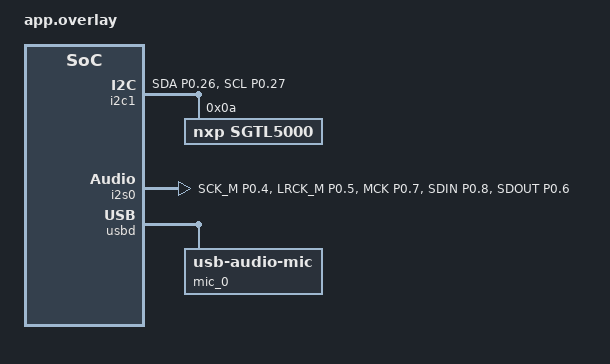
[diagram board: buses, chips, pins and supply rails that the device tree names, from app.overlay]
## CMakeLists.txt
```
cmake_minimum_required(VERSION 3.20.0)
find_package(Zephyr REQUIRED HINTS $ENV{ZEPHYR_BASE})
project(cdc_acm)

target_sources(app PRIVATE src/main.c)
```

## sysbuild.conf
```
# This forces Sysbuild to compile the Network Core from source
SB_CONFIG_NETCORE_HCI_IPC=y
```

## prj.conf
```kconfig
# --- Core Log & Debug ---
CONFIG_LOG=y
CONFIG_LOG_DEFAULT_LEVEL=3
CONFIG_PRINTK=y

# --- System Memory & Thread Buffers ---
CONFIG_HEAP_MEM_POOL_SIZE=32768
CONFIG_MAIN_STACK_SIZE=4096
CONFIG_SYSTEM_WORKQUEUE_STACK_SIZE=4096
CONFIG_BT_RX_STACK_SIZE=4096
CONFIG_NET_BUF=y

# --- Dual-Core IPC ---
CONFIG_MBOX=y
CONFIG_IPC_SERVICE=y
CONFIG_IPC_SERVICE_BACKEND_RPMSG_WQ_STACK_SIZE=4096

# --- Legacy USB Stack & Branding ---
CONFIG_USB_DEVICE_STACK=y
CONFIG_USB_DEVICE_AUDIO=y
CONFIG_USB_COMPOSITE_DEVICE=y
CONFIG_USB_DEVICE_VID=0x1111
CONFIG_USB_DEVICE_PID=0xAAAC
CONFIG_USB_DEVICE_MANUFACTURER="Zip Solutions"
CONFIG_USB_DEVICE_PRODUCT="Zip Captions Auracaster"

# --- Hardware Drivers ---
CONFIG_I2C=y
CONFIG_I2S=y
CONFIG_I2S_NRFX=y
CONFIG_GPIO=y

# --- Bluetooth Base Stack ---
CONFIG_BT=y
CONFIG_UTF8=y
CONFIG_BT_EXT_ADV=y
CONFIG_BT_PER_ADV=y
CONFIG_BT_ISO_BROADCASTER=y

# --- Auracast / BAP Audio Stack ---
CONFIG_BT_AUDIO=y
CONFIG_BT_BAP_BROADCAST_SOURCE=y
CONFIG_BT_AUDIO_CODEC_CFG_MAX_DATA_SIZE=155
CONFIG_BT_AUDIO_CODEC_CAP_MAX_DATA_SIZE=120
CONFIG_BT_DEVICE_NAME="Zip Captions"
CONFIG_BT_BAP_BROADCAST_SRC_STREAM_COUNT=2
CONFIG_BT_ISO_MAX_CHAN=2

# Fix the BAP buffer overflow (make room for the "Zip Captions" string)
CONFIG_BT_AUDIO_CODEC_CFG_MAX_METADATA_SIZE=255

# Public Broadcast Profile (Strict Auracast Requirement)
CONFIG_BT_PBP=y

# --- Expanded Bridge Buffers for Audio Commands ---
CONFIG_BT_BUF_CMD_TX_SIZE=255
CONFIG_BT_BUF_ACL_TX_SIZE=251
CONFIG_BT_BUF_ACL_RX_SIZE=251

# --- The Math Engine (LC3 Codec) ---
CONFIG_FPU=y
CONFIG_LIBLC3=y

# --- The Isochronous (ISO) Radio Buffers (Host side) ---
# Aligned with expert recommendations to prevent Android BIG sync failures
CONFIG_BT_ISO_TX_BUF_COUNT=3
CONFIG_BT_ISO_TX_MTU=251

# --- Bluetooth Stack Deep Logging ---
CONFIG_BT_LOG_LEVEL_INF=y
CONFIG_BT_HCI_CORE_LOG_LEVEL_INF=y
CONFIG_BT_ISO_LOG_LEVEL_DBG=y
CONFIG_BT_BAP_BROADCAST_SOURCE_LOG_LEVEL_DBG=y
CONFIG_BT_BAP_STREAM_LOG_LEVEL_DBG=y
CONFIG_BT_AUDIO_LOG_LEVEL_DBG=y
```

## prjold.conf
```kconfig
# --- Core System ---
CONFIG_LOG=y
CONFIG_PRINTK=y

# --- Memory Allocation (The Missing Pillars) ---
CONFIG_HEAP_MEM_POOL_SIZE=16384
CONFIG_MAIN_STACK_SIZE=4096
CONFIG_SYSTEM_WORKQUEUE_STACK_SIZE=4096
CONFIG_BT_HCI_TX_STACK_SIZE_WITH_PROMPT=y
CONFIG_BT_HCI_TX_STACK_SIZE=4096

# --- Base Bluetooth Support ---
CONFIG_BT=y
CONFIG_BT_HCI=y
CONFIG_BT_EXT_ADV=y
CONFIG_BT_PER_ADV=y
CONFIG_BT_ISO_BROADCASTER=y
CONFIG_BT_AUDIO=y
CONFIG_BT_BAP_BROADCAST_SOURCE=y
CONFIG_BT_DEVICE_NAME="Zip Captions Auracaster"

# --- Bluetooth Buffers ---
CONFIG_BT_BUF_ISO_TX_COUNT=6
CONFIG_BT_BUF_ISO_TX_SIZE=251
CONFIG_BT_BUF_ACL_TX_COUNT=10
CONFIG_BT_BUF_ACL_TX_SIZE=251

# --- USB Device (Classic) ---
CONFIG_USB_DEVICE_STACK=y
CONFIG_USB_DEVICE_STACK_NEXT=n
CONFIG_USB_DEVICE_AUDIO=y
CONFIG_USB_COMPOSITE_DEVICE=y
CONFIG_NET_BUF=y

# --- USB Branding ---
CONFIG_USB_DEVICE_PRODUCT="Zip Captions Auracaster"
CONFIG_USB_DEVICE_MANUFACTURER="Zip Solutions"
CONFIG_USB_DEVICE_VID=0x1111
CONFIG_USB_DEVICE_PID=0xAAAB

# --- I2S Driver ---
CONFIG_I2S=y
CONFIG_I2S_NRFX=y
```

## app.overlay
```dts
/* app.overlay */

&clock {
    status = "okay";
    hfclkaudio-frequency = <12288000>;
};

&pinctrl {
    i2c1_default: i2c1_default {
        group1 {
            /* I2C Pins -> Avoids UART collision */
            psels = <NRF_PSEL(TWIM_SDA, 0, 26)>,  /* nRF P0.26 -> Teensy Pin 18 */
                    <NRF_PSEL(TWIM_SCL, 0, 27)>;  /* nRF P0.27 -> Teensy Pin 19 */
            bias-pull-up;
        };
    };

    i2c1_sleep: i2c1_sleep {
        group1 {
            psels = <NRF_PSEL(TWIM_SDA, 0, 26)>,
                    <NRF_PSEL(TWIM_SCL, 0, 27)>;
            low-power-enable;
        };
    };

    i2s0_default: i2s0_default {
        group1 {
            /* Clock Pins -> Avoids UART collision */
            psels = <NRF_PSEL(I2S_SCK_M, 0, 4)>,   /* nRF P0.04 -> Teensy Pin 21 */
                    <NRF_PSEL(I2S_LRCK_M, 0, 5)>,  /* nRF P0.05 -> Teensy Pin 20 */
                    <NRF_PSEL(I2S_MCK, 0, 7)>;     /* nRF P0.07 -> Teensy Pin 23 */
            nordic,drive-mode = <NRF_DRIVE_H0H1>;
        };
        group2 {
            /* FIXED: Swapped to properly route TX to RX */
            psels = <NRF_PSEL(I2S_SDIN, 0, 8)>,    /* nRF P0.08 now listens to SGTL5000 TX (Teensy Pin 7) */
                    <NRF_PSEL(I2S_SDOUT, 0, 6)>;   /* nRF P0.06 now drives SGTL5000 RX (Teensy Pin 8) */
        };
    };

    i2s0_sleep: i2s0_sleep {
        group1 {
            psels = <NRF_PSEL(I2S_SCK_M, 0, 4)>,
                    <NRF_PSEL(I2S_LRCK_M, 0, 5)>,
                    <NRF_PSEL(I2S_MCK, 0, 7)>,
                    <NRF_PSEL(I2S_SDIN, 0, 8)>,
                    <NRF_PSEL(I2S_SDOUT, 0, 6)>;
            low-power-enable;
        };
    };
};

&i2c1 {
    status = "okay";
    pinctrl-0 = <&i2c1_default>;
    pinctrl-1 = <&i2c1_sleep>;
    pinctrl-names = "default", "sleep";

    sgtl5000: sgtl5000@a {
        compatible = "nxp,sgtl5000";
        reg = <0x0a>;
        #sound-dai-cells = <0>;
        status = "okay";
    };
};

&i2s0 {
    status = "okay";
    pinctrl-0 = <&i2s0_default>;
    pinctrl-1 = <&i2s0_sleep>;
    pinctrl-names = "default", "sleep";
    clock-source = "ACLK";
};

/* --- USB Microphone (48kHz Stereo) --- */
&usbd {
    status = "okay";
    mic_0: mic_0 {
        compatible = "usb-audio-mic";
        status = "okay";
        feature-mute;
        channel-l;
        channel-r;
        sample-rate-hz = <48000>;
    };
};
```

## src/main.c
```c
#include <zephyr/kernel.h>
#include <zephyr/device.h>
#include <zephyr/logging/log.h>
#include <zephyr/net_buf.h> 
#include <zephyr/sys/ring_buffer.h>
#include <string.h>
#include <zephyr/random/random.h>

/* USB Headers */
#include <zephyr/usb/usb_device.h>
#include <zephyr/drivers/uart.h>
#include <zephyr/usb/class/usb_audio.h>

/* Bluetooth & BAP Headers */
#include <zephyr/bluetooth/bluetooth.h>
#include <zephyr/bluetooth/iso.h>
#include <zephyr/bluetooth/audio/audio.h>
#include <zephyr/bluetooth/audio/bap.h>
#include <zephyr/bluetooth/audio/lc3.h>
#include <lc3.h> 

/* Hardware Bus Headers */
#include <zephyr/drivers/i2s.h>
#include <zephyr/drivers/i2c.h>
#include <zephyr/drivers/gpio.h>

LOG_MODULE_REGISTER(zip_audio_router, LOG_LEVEL_INF);

#define HW_SAMPLE_FREQ       48000  
#define SAMPLES_PER_FRAME    480    
#define STEREO_BLOCK_SIZE    1920   
#define NUM_BLOCKS           10      

#define USB_FRAME_SIZE       192    
#define USB_TX_BLOCK_SIZE    256     
#define USB_TX_NUM_BLOCKS    128

#define RING_BUF_SIZE        15360   
RING_BUF_DECLARE(audio_ringbuf, RING_BUF_SIZE);

/* --- Auracast Globals --- */
/* EXPERT FIX: 2 Streams for the "Stereo Spoof" */
static struct bt_bap_stream streams[2];
static struct bt_bap_broadcast_source *broadcast_source;
static struct bt_le_ext_adv *adv;
static uint16_t seq_num = 0;

const struct device *uart_dev = DEVICE_DT_GET(DT_CHOSEN(zephyr_console));
static uint32_t active_bcast_id = 0;

static lc3_encoder_t lc3_encoder;
#define LC3_ENCODER_MAX_MEM 8192
static uint8_t lc3_encoder_mem[LC3_ENCODER_MAX_MEM];

/* Buffer size doubled to 32 to handle 2 streams simultaneously */
NET_BUF_POOL_FIXED_DEFINE(bis_tx_pool, 32, BT_ISO_SDU_BUF_SIZE(100), 8, NULL);
K_MEM_SLAB_DEFINE(i2s_rx_slab, STEREO_BLOCK_SIZE, NUM_BLOCKS, 4);
NET_BUF_POOL_DEFINE(usb_tx_pool, USB_TX_NUM_BLOCKS, USB_TX_BLOCK_SIZE, 0, NULL);
K_SEM_DEFINE(hardware_ready_sem, 0, 1);

/* EXPERT FIX: Codec returned to FRONT_LEFT | FRONT_RIGHT to satisfy Pixel PACS matching */
static struct bt_audio_codec_cfg lc3_codec_cfg = BT_AUDIO_CODEC_LC3_CONFIG(
    BT_AUDIO_CODEC_CFG_FREQ_48KHZ,
    BT_AUDIO_CODEC_CFG_DURATION_10,
    (BT_AUDIO_LOCATION_FRONT_LEFT | BT_AUDIO_LOCATION_FRONT_RIGHT), 
    100, 1, BT_AUDIO_CONTEXT_TYPE_MEDIA
);

static struct bt_bap_qos_cfg lc3_qos_cfg = {
    .phy = BT_BAP_QOS_CFG_2M,
    .framing = BT_BAP_QOS_CFG_FRAMING_UNFRAMED,
    .rtn = 2,
    .sdu = 100,
    .latency = 65,       
    .interval = 10000,   
    .pd = 40000,         
};

const struct device *const i2s_dev = DEVICE_DT_GET(DT_NODELABEL(i2s0));
const struct device *const i2c_bus = DEVICE_DT_GET(DT_NODELABEL(i2c1));
const struct device *mic_dev; 

#define SW0_NODE DT_ALIAS(sw0)   
#define LED0_NODE DT_ALIAS(led0) 
#define LED1_NODE DT_ALIAS(led1) 

static const struct gpio_dt_spec button = GPIO_DT_SPEC_GET(SW0_NODE, gpios);
static const struct gpio_dt_spec led_line = GPIO_DT_SPEC_GET(LED0_NODE, gpios); 
static const struct gpio_dt_spec led_mic = GPIO_DT_SPEC_GET(LED1_NODE, gpios);  

static struct gpio_callback button_cb_data;
static bool is_line_active = true; 
static volatile bool request_input_switch = false;
static uint32_t last_press_time = 0;

void cdc_id_pulse_handler(struct k_timer *timer_id) {
    if (active_bcast_id != 0 && device_is_ready(uart_dev)) {
        char buf[32];
        snprintf(buf, sizeof(buf), "ID:%06X\n", active_bcast_id);
        for (int i = 0; buf[i] != '\0'; i++) {
            uart_poll_out(uart_dev, buf[i]);
        }
    }
}
K_TIMER_DEFINE(usb_pulse_timer, cdc_id_pulse_handler, NULL);

void button_pressed(const struct device *dev, struct gpio_callback *cb, uint32_t pins) {
    uint32_t now = k_uptime_get_32();
    if (now - last_press_time > 250) { 
        request_input_switch = true;
        last_press_time = now;
    }
}

/* --- SGTL5000 I2C Configuration --- */
#define SGTL5000_ADDR 0x0A

static int sgtl5000_write(uint16_t reg, uint16_t val) {
    uint8_t buf[4] = { (uint8_t)(reg >> 8), (uint8_t)(reg & 0xFF), (uint8_t)(val >> 8), (uint8_t)(val & 0xFF) };
    return i2c_write(i2c_bus, buf, 4, SGTL5000_ADDR);
}

static void wake_sgtl5000(void) {
    if (!device_is_ready(i2c_bus)) return;
    k_sleep(K_MSEC(50));
    sgtl5000_write(0x0002, 0x0000);
    sgtl5000_write(0x0030, 0x4060); 
    sgtl5000_write(0x0026, 0x006C); 
    sgtl5000_write(0x0028, 0x01F2); 
    sgtl5000_write(0x002C, 0x0F22); 
    sgtl5000_write(0x003C, 0x4446); 
    sgtl5000_write(0x0030, 0x40FF); 
    sgtl5000_write(0x0002, 0x0073); 
    k_sleep(K_MSEC(400));
    sgtl5000_write(0x0004, 0x0008);
    
    /* SGTL5000 in SLAVE mode (0x0130) because nRF5340 is the Master */
    sgtl5000_write(0x0006, 0x0130);
    
    sgtl5000_write(0x000A, 0x0000);
    sgtl5000_write(0x000E, 0x00B0); 
    sgtl5000_write(0x0024, 0x0004);
    sgtl5000_write(0x0020, 0x0000); 
    sgtl5000_write(0x002A, 0x0000); 
    sgtl5000_write(0x0022, 0x2020);
}

/* --- USB Audio Callbacks --- */
static int16_t last_sample[2] = {0, 0}; 

static void data_received_cb(const struct device *dev, struct net_buf *buffer, size_t size) {}
static void data_written_cb(const struct device *dev, struct net_buf *buffer, size_t size) { net_buf_unref(buffer); }
static void feature_update_cb(const struct device *dev, const struct usb_audio_fu_evt *evt) {}

static void data_request_cb(const struct device *dev)
{
    size_t frame_size = 192; 
    struct net_buf *buf = net_buf_alloc(&usb_tx_pool, K_NO_WAIT);
    if (!buf) return;

    uint8_t temp_buf[256]; 
    uint32_t data_in_buffer = ring_buf_size_get(&audio_ringbuf);

    if (data_in_buffer >= frame_size) {
        ring_buf_get(&audio_ringbuf, temp_buf, frame_size);
        int16_t *samples = (int16_t *)temp_buf;
        uint32_t num_samples = frame_size / 2; 
        last_sample[0] = samples[num_samples - 2]; 
        last_sample[1] = samples[num_samples - 1]; 
    } else {
        int16_t *samples = (int16_t *)temp_buf;
        for(int i = 0; i < frame_size / 2; i += 2) {
            samples[i] = last_sample[0];
            samples[i+1] = last_sample[1];
        }
    }

    memcpy(net_buf_add(buf, frame_size), temp_buf, frame_size);
    if (usb_audio_send((struct device *)dev, buf, frame_size) < 0) net_buf_unref(buf);
}

static const struct usb_audio_ops usb_ops = {
    .data_request_cb = data_request_cb, 
    .data_written_cb = data_written_cb,
    .data_received_cb = data_received_cb, 
    .feature_update_cb = feature_update_cb,
};

static void stream_started_cb(struct bt_bap_stream *stream) { LOG_INF("BAP Stream Started!"); }
static void stream_stopped_cb(struct bt_bap_stream *stream, uint8_t reason) { LOG_INF("BAP Stream Stopped"); }
static struct bt_bap_stream_ops stream_ops = { .started = stream_started_cb, .stopped = stream_stopped_cb, };

/* --- Main Audio Router Thread --- */
void audio_router_thread(void *p1, void *p2, void *p3)
{
    void *rx_mem_block;
    size_t rx_size;
    int16_t mono_temp[SAMPLES_PER_FRAME]; 

    k_sem_take(&hardware_ready_sem, K_FOREVER);
    
    while (1) {
        if (i2s_read(i2s_dev, &rx_mem_block, &rx_size) == 0) {
            if (rx_size == STEREO_BLOCK_SIZE) {
                int16_t *stereo_in = (int16_t *)rx_mem_block;
                
                /* 1. ALWAYS feed the USB ring buffer */
                if (ring_buf_space_get(&audio_ringbuf) >= rx_size) {
                    ring_buf_put(&audio_ringbuf, (uint8_t *)stereo_in, rx_size);
                }
                
                /* 2. ALWAYS mix down for Auracast (L+R / 2) */
                for (int i = 0; i < SAMPLES_PER_FRAME; i++) {
                    int32_t sum = (stereo_in[i * 2] + stereo_in[i * 2 + 1]) / 2;
                    if (sum > 32767) sum = 32767;
                    else if (sum < -32768) sum = -32768;
                    mono_temp[i] = (int16_t)sum; 
                }
            }
            k_mem_slab_free(&i2s_rx_slab, rx_mem_block);
        } else {
            memset(mono_temp, 0, sizeof(mono_temp));
            k_sleep(K_MSEC(5));
        }
        
        uint16_t current_seq = seq_num++;
        
        /* 3. Send to Auracast */
        /* 3. Send to Auracast */
        static int bap_err_count = 0;
        static int success_count = 0;

        if (streams[0].ep != NULL && streams[1].ep != NULL && lc3_encoder != NULL) {
            struct net_buf *buf_left = net_buf_alloc(&bis_tx_pool, K_NO_WAIT);
            struct net_buf *buf_right = net_buf_alloc(&bis_tx_pool, K_NO_WAIT);
            
            if (buf_left && buf_right) {
                net_buf_reserve(buf_left, BT_ISO_CHAN_SEND_RESERVE);
                net_buf_reserve(buf_right, BT_ISO_CHAN_SEND_RESERVE);
                
                uint8_t *enc_data = net_buf_add(buf_left, 100);
                lc3_encode(lc3_encoder, LC3_PCM_FORMAT_S16, mono_temp, 1, 100, enc_data);
                memcpy(net_buf_add(buf_right, 100), enc_data, 100);
                
                int err_l = bt_bap_stream_send(&streams[0], buf_left, current_seq);
                if (err_l < 0) {
                    if (bap_err_count++ % 100 == 0) LOG_WRN("BAP Send Error (Left): %d", err_l);
                    net_buf_unref(buf_left);
                } else {
                    if (success_count++ % 500 == 0) LOG_INF("BAP Packets successfully sent to radio.");
                }

                int err_r = bt_bap_stream_send(&streams[1], buf_right, current_seq);
                if (err_r < 0) net_buf_unref(buf_right);
                
            } else {
                if (bap_err_count++ % 100 == 0) LOG_WRN("BAP TX Pool Empty! Cannot allocate buffers.");
                if (buf_left) net_buf_unref(buf_left);
                if (buf_right) net_buf_unref(buf_right);
            }
        }
    }
}

K_THREAD_DEFINE(audio_router_id, 4096, audio_router_thread, NULL, NULL, NULL, K_PRIO_PREEMPT(1), K_FP_REGS, 0);

/* --- Auracast Initialization --- */
void start_zip_auracast(void)
{
    int err;

    struct bt_le_adv_param ext_adv_param = {
        .id = BT_ID_DEFAULT,
        .options = BT_LE_ADV_OPT_EXT_ADV | BT_LE_ADV_OPT_USE_IDENTITY,
        .interval_min = 0x00a0,
        .interval_max = 0x00f0,
    };

    err = bt_le_ext_adv_create(&ext_adv_param, NULL, &adv);
    
    /* EXPERT FIX: Locked PA interval to 80-100ms for strict Android discovery */
    struct bt_le_per_adv_param per_adv_param = {
        .interval_min = 0x0040, 
        .interval_max = 0x0050, 
        .options = 0,
    };
    err = bt_le_per_adv_set_param(adv, &per_adv_param);

    static const uint8_t custom_metadata[] = {
        0x03, BT_AUDIO_METADATA_TYPE_STREAM_CONTEXT, 0x04, 0x00,
        0x04, BT_AUDIO_METADATA_TYPE_LANG, 'e', 'n', 'g',
        13, BT_AUDIO_METADATA_TYPE_PROGRAM_INFO, 'Z', 'i', 'p', ' ', 'C', 'a', 'p', 't', 'i', 'o', 'n', 's'
    };
    
    memcpy(lc3_codec_cfg.meta, custom_metadata, sizeof(custom_metadata));
    lc3_codec_cfg.meta_len = sizeof(custom_metadata);

   /* EXPERT FIX: Explicitly tag Stream 0 as Left and Stream 1 as Right for Android PACS */
    static uint8_t left_bis_data[]  = { 5, 0x03, 0x01, 0x00, 0x00, 0x00 }; 
    static uint8_t right_bis_data[] = { 5, 0x03, 0x02, 0x00, 0x00, 0x00 }; 

    struct bt_bap_broadcast_source_stream_param stream_params[2] = {
        { 
            .stream = &streams[0], 
            .data_len = ARRAY_SIZE(left_bis_data), 
            .data = left_bis_data 
        },
        { 
            .stream = &streams[1], 
            .data_len = ARRAY_SIZE(right_bis_data), 
            .data = right_bis_data 
        }
    };
    struct bt_bap_broadcast_source_subgroup_param subgroup_param = {
        .params_count = 2, 
        .params = stream_params, 
        .codec_cfg = &lc3_codec_cfg,
    };
    struct bt_bap_broadcast_source_param create_param = {
        .params_count = 1, .params = &subgroup_param, .qos = &lc3_qos_cfg,
        .packing = BT_ISO_PACKING_SEQUENTIAL, .encryption = false,
    };

    err = bt_bap_broadcast_source_create(&create_param, &broadcast_source);
    active_bcast_id = sys_rand32_get() & 0x00FFFFFF;
    k_timer_start(&usb_pulse_timer, K_NO_WAIT, K_SECONDS(3));

    uint8_t pbp_svc_data[] = { 0x56, 0x18, 0x02, 0x00 };
    uint8_t bap_svc_data[] = {
        0x52, 0x18, 
        (uint8_t)(active_bcast_id & 0xFF),
        (uint8_t)((active_bcast_id >> 8) & 0xFF),
        (uint8_t)((active_bcast_id >> 16) & 0xFF)
    };

    static const uint8_t auracast_uuids[] = { 0x52, 0x18, 0x56, 0x18 };

    struct bt_data ad[] = {
        BT_DATA_BYTES(BT_DATA_FLAGS, (BT_LE_AD_GENERAL | BT_LE_AD_NO_BREDR)),
        BT_DATA(BT_DATA_NAME_COMPLETE, "Zip Captions", 12),
        BT_DATA(BT_DATA_BROADCAST_NAME, "Zip Captions", 12),
        BT_DATA(BT_DATA_UUID16_ALL, auracast_uuids, sizeof(auracast_uuids)),
        BT_DATA(BT_DATA_SVC_DATA16, bap_svc_data, ARRAY_SIZE(bap_svc_data)),
        BT_DATA(BT_DATA_SVC_DATA16, pbp_svc_data, ARRAY_SIZE(pbp_svc_data)) 
    };

    err = bt_le_ext_adv_set_data(adv, ad, ARRAY_SIZE(ad), NULL, 0);

    NET_BUF_SIMPLE_DEFINE(base_buf, 128);
    err = bt_bap_broadcast_source_get_base(broadcast_source, &base_buf);

    static uint8_t base_svc_data[128];
    base_svc_data[0] = BT_UUID_BASIC_AUDIO_VAL & 0xFF; 
    base_svc_data[1] = (BT_UUID_BASIC_AUDIO_VAL >> 8) & 0xFF;
    memcpy(&base_svc_data[2], base_buf.data, base_buf.len);

    struct bt_data per_ad[] = {
        BT_DATA(BT_DATA_SVC_DATA16, base_svc_data, base_buf.len + 2)
    };

    err = bt_le_per_adv_set_data(adv, per_ad, ARRAY_SIZE(per_ad));
    err = bt_le_ext_adv_start(adv, BT_LE_EXT_ADV_START_DEFAULT);
    err = bt_le_per_adv_start(adv);
    err = bt_bap_broadcast_source_start(broadcast_source, adv);
}

/* --- System Initialization --- */
int main(void)
{
    lc3_encoder = lc3_setup_encoder(48000, 48000, 0, lc3_encoder_mem);
    
    NRF_CLOCK->TASKS_HFCLKAUDIOSTART = 1;
    while (NRF_CLOCK->EVENTS_HFCLKAUDIOSTARTED == 0) {}
    
    /* 1. Configure and Start I2S FIRST to generate the MCLK heartbeat */
    struct i2s_config i2s_cfg = {
        .word_size = 16, 
        .channels = 2,   
        .format = I2S_FMT_DATA_FORMAT_I2S,
        .options = I2S_OPT_BIT_CLK_MASTER | I2S_OPT_FRAME_CLK_MASTER, 
        .frame_clk_freq = HW_SAMPLE_FREQ,
        .mem_slab = &i2s_rx_slab,
        .block_size = STEREO_BLOCK_SIZE, 
        .timeout = SYS_FOREVER_MS,
    };
    
    i2s_configure(i2s_dev, I2S_DIR_RX, &i2s_cfg);
    i2s_trigger(i2s_dev, I2S_DIR_RX, I2S_TRIGGER_START);
    
    /* 2. THE FIX: Release the audio thread NOW. 
          It will continuously drain the I2S queue in the background,
          completely preventing the "No room in RX queue" memory leak. */
    k_sem_give(&hardware_ready_sem);
    
    /* 3. Wake the Codec (The 450ms boot delay is now safely absorbed) */
    wake_sgtl5000();

    /* 4. Bring up USB */
    mic_dev = DEVICE_DT_GET_ONE(usb_audio_mic);
    usb_audio_register((struct device *)mic_dev, &usb_ops);
    usb_enable(NULL);

    /* 5. Start Bluetooth & Auracast */
    bt_enable(NULL);
    bt_bap_stream_cb_register(&streams[0], &stream_ops);
    bt_bap_stream_cb_register(&streams[1], &stream_ops);
    start_zip_auracast();

    while (1) {
        k_sleep(K_MSEC(1000));
    }
}
```
